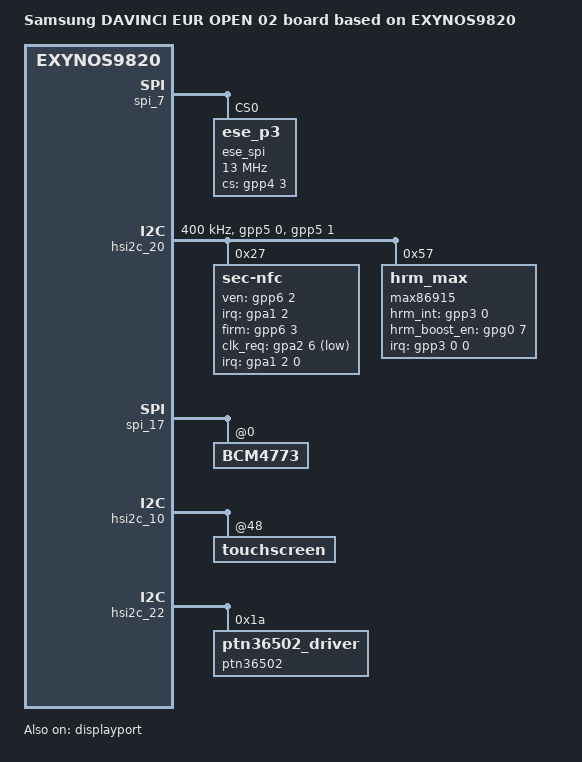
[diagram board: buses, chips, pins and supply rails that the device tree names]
/*
 * SAMSUNG EXYNOS9820 board device tree source
 *
 * Copyright (c) 2018 Samsung Electronics Co., Ltd.
 *		http://www.samsung.com
 *
 * This program is free software; you can redistribute it and/or modify
 * it under the terms of the GNU General Public License version 2 as
 * published by the Free Software Foundation.
*/

/dts-v1/;
/plugin/;
#include "exynos9820-sensorhub.dtsi"
#include "exynos9820-display-lcd.dtsi"
#include "battery_data_davinci5g_common.dtsi"
#include "exynos9820-davinci5g_if-pmic-max77705.dtsi"
#include "exynos9820-davinci5g_motor.dtsi"
#include <dt-bindings/clock/exynos9820.h>
#include <dt-bindings/pci/pci.h>
#include "exynos9820-davinci5g_camera.dtsi"
#include "exynos9820-davinci5g_common.dtsi"
#include "exynos9820-davinci5g_fingerprint_00.dtsi"
#include "exynos9820-davinci5g_kor_gpio_00.dtsi"
#include "exynos9820-davinci5g_optics-r01.dtsi"
/ {
	compatible = "samsung,DAVINCI EUR OPEN 02", "samsung,EXYNOS9820";
	dtbo-hw_rev = <2>;
   	dtbo-hw_rev_end = <255>;

	fragment@model {
		target-path = "/";
		__overlay__ {
			#address-cells = <2>;
			#size-cells = <1>;

			model = "Samsung DAVINCI EUR OPEN 02 board based on EXYNOS9820";

		}; /* end of __overlay__ */
	}; /* end of fragment */
}; /* end of root */

&pinctrl_6 {
	spi7_bus_suspend: spi7-bus-suspend {
		samsung,pins = "gpp4-2", "gpp4-1", "gpp4-0";
		samsung,pin-function = <0>;	/* INPUT */
		samsung,pin-pud = <1>;		/* DOWN */
		samsung,pin-drv = <0>;
	};
	spi7_cs_suspend: spi7-cs-suspend {
		samsung,pins = "gpp4-3";
		samsung,pin-function = <0>;	/* INPUT */
		samsung,pin-pud = <1>;		/* DOWN */
		samsung,pin-drv = <0>;
	};
};

/* SPI USI_PERIC1_USI06_SPI */
&spi_7 {
	status = "okay";
	/delete-property/ pinctrl-names;
	/delete-property/ pinctrl-0;
	pinctrl-names = "ese_active", "ese_suspend";
	pinctrl-0 = <&spi7_bus &spi7_cs>;
	pinctrl-1 = <&spi7_bus_suspend &spi7_cs_suspend>;

	ese_spi@0 {
		compatible = "ese_p3";
		reg = <0>;
		spi-max-frequency = <13000000>;
		gpio-controller;
		#gpio-cells = <2>;

		p3-vdd-1p8= "VDD_ESE_1P8";

		clocks = <&clock GATE_USI06_USI>, <&clock DOUT_CLK_PERIC1_USI06_USI>;
		clock-names = "pclk", "sclk";
		ese_p3,cs-gpio = <&gpp4 3 0>;

		controller-data {
			samsung,spi-feedback-delay = <0>;
			samsung,spi-chip-select-mode = <0>;
		};
	};
};

&pinctrl_6 {
	nfc_en: nfc-en {
		samsung,pins = "gpp6-2";
		samsung,pin-function = <1>;
		samsung,pin-pud = <0>;
		samsung,pin-con-pdn = <3>;
		samsung,pin-pud-pdn = <0>;
		};

	nfc_firm: nfc-firm {
		samsung,pins = "gpp6-3";
		samsung,pin-function = <1>;
		samsung,pin-pud = <0>;
		samsung,pin-con-pdn = <3>;
		samsung,pin-pud-pdn = <0>;
		};
};

&hsi2c_20 {
	gpios = <&gpp5 0 0 &gpp5 1 0>;
	status = "okay";
	clock-frequency = <400000>;

	sec-nfc@27 {
		compatible = "sec-nfc";
		reg = <0x27>;

		interrupts = <2 0 0>;
		interrupt-parent = <&gpa1>;
		pinctrl-names = "default";
		pinctrl-0 = <&nfc_en &nfc_firm>;

		sec-nfc,ven-gpio = <&gpp6 2 0>;
		sec-nfc,irq-gpio = <&gpa1 2 0>;
		sec-nfc,firm-gpio = <&gpp6 3 0>;
		sec-nfc,clk_req-gpio = <&gpa2 6 0xf>;
		sec-nfc,clk_use = <2>;
		sec-nfc,nfc_pvdd = "VDD_NFC_1P8";

		clocks = <&clock OSC_NFC>;
		clock-names = "oscclk_nfc";
		sec-nfc,nfc_ap_clk;
		sec-nfc,ldo_control;
	};

	max86915@57 {
		compatible = "hrm_max";
		reg = <0x57>;
		interrupt-parent = <&gpp3>;
		interrupts = <0 0 0>;
		pinctrl-names = "default", "sleep", "idle";
		pinctrl-0 = <&hrm_irq &hrm_en>;
		pinctrl-1 = <&hrm_irqsleep &hrm_ensleep>;
		pinctrl-2 = <&hrm_irqidle &hrm_enidle>;
		hrmsensor,hrm_int-gpio = <&gpp3 0 0>;
		hrmsensor,hrm_boost_en-gpio = <&gpg0 7 0>;
		hrmsensor,vdd_1p8 = "S2MPB02_LDO8";
		hrmsensor,i2c_1p8 = "VDD_NFC_1P8";
		hrmsensor,thd = <100000 100000>;
		hrmsensor,init_curr = <0x46 0x41 0x28 0x3c>;
	};
};

&pinctrl_5 {
	hrm_irq: hrm-irq {
		samsung,pins = "gpp3-0";
		samsung,pin-function = <0xf>;
		samsung,pin-pud = <0>;
		samsung,pin-drv = <3>;
	};

	hrm_irqsleep: hrm-irqsleep {
		samsung,pins = "gpp3-0";
		samsung,pin-con-pdn = <2>;
		samsung,pin-pud-pdn = <0>;
	};

	hrm_irqidle: hrm-irqidle {
		samsung,pins = "gpp3-0";
		samsung,pin-function = <0xf>;
		samsung,pin-pud = <0>;
		samsung,pin-drv = <3>;
	};

	hrm_en: hrm-en {
		samsung,pins = "gpg0-7";
		samsung,pin-function = <0>;
		samsung,pin-pud = <1>;
		samsung,pin-drv = <2>;
	};

	hrm_ensleep: hrm-ensleep {
		samsung,pins = "gpg0-7";
		samsung,pin-con-pdn = <2>;
		samsung,pin-pud-pdn = <1>;
	};

	hrm_enidle: hrm-enidle {
		samsung,pins = "gpg0-7";
		samsung,pin-function = <0>;
		samsung,pin-pud = <1>;
		samsung,pin-drv = <2>;
	};
};

&spi_17 {
	BCM4773@0 {
		ssp-acc-position = <4>;
		ssp-mag-position = <5>;
		ssp-mag-array = /bits/ 8 <216 82 110 20 16 123 255 209 211 54 70 37 180 8 0 147 255 113 132 121
					190 252 250 15 9 40 180>;
		ssp-thermi-up = /bits/ 16 <2995 2964 2926 2883 2822 2750 2670 2564 2450 2320 2178 2020 1860 1700
					1540 1377 1218 1079 999 834 753 647 566>;
		ssp-thermi-sub = /bits/ 16 <2986 2953 2918 2873 2810 2741 2656 2552 2441 2312 2171 2015 1857 1698
					1537 1377 1217 1083 1003 845 758 654 575>;
	};
};

&hsi2c_10 {
	touchscreen@48 {
		sec,project_name = "BEYOND2", "G975";
		sec,firmware_name = "tsp_sec/y771_beyond2_phole.bin";
		sec,tclm_level = <1>;
		sec,bringup = <2>;	/* do not update fw but check fw version */
	};
};

&displayport {
	status = "okay";
	dp,usb_con_sel = <&gpg0 4 0>;
};

&hsi2c_22 {
	status = "okay";
	ptn36502@1a {
		compatible = "ptn36502_driver";
		reg = <0x1a>;
		combo,con_sel = <&gpg0 4 0x0>;
	};
};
